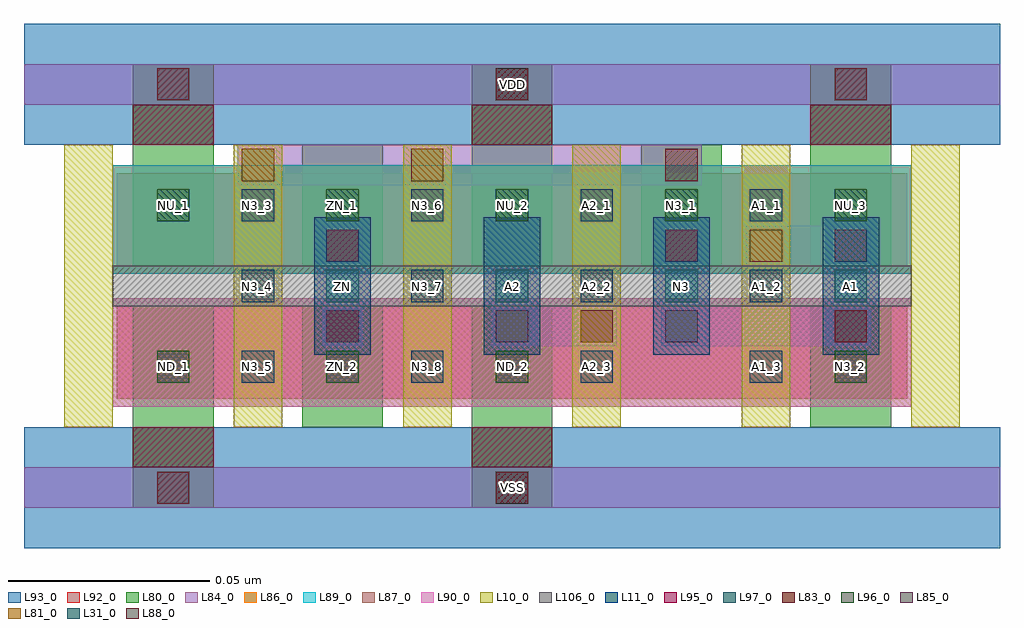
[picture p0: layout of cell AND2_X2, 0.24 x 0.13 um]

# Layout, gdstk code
import gdstk
lib = gdstk.Library(unit=1e-6, precision=1e-09)
def R(c, l, rs):  # rectangles x0, y0, x1, y1
    for r in rs: c.add(gdstk.rectangle(r[:2], r[2:], *l))
def A(c, l, x, y, w, h, nx, ny, dx, dy):  # array of equal rectangles
    R(c, l, [(x+i*dx, y+j*dy, x+i*dx+w, y+j*dy+h) for i in range(nx) for j in range(ny)])
L10_0 = (10, 0)
L11_0 = (11, 0)
L31_0 = (31, 0)
L80_0 = (80, 0)
L81_0 = (81, 0)
L83_0 = (83, 0)
L84_0 = (84, 0)
L85_0 = (85, 0)
L86_0 = (86, 0)
L87_0 = (87, 0)
L88_0 = (88, 0)
L89_0 = (89, 0)
L90_0 = (90, 0)
L92_0 = (92, 0)
L93_0 = (93, 0)
L95_0 = (95, 0)
L96_0 = (96, 0)
L97_0 = (97, 0)
L106_0 = (106, 0)

and2_x2 = lib.new_cell('AND2_X2')
A(and2_x2, L10_0, -0.027, 0.015, 0.012, 0.07, 6, 1, 0.042, 0)
A(and2_x2, L11_0, 0.035, 0.033, 0.014, 0.034, 4, 1, 0.042, 0)
A(and2_x2, L31_0, 0.038, 0.046, 0.008, 0.008, 4, 1, 0.042, 0)
A(and2_x2, L80_0, -0.01, 0.015, 0.02, 0.03, 3, 1, 0.042, 0)
A(and2_x2, L80_0, -0.01, 0.055, 0.02, 0.03, 5, 1, 0.042, 0)
A(and2_x2, L80_0, -0.01, 0.075, 0.02, 0.03, 3, 1, 0.084, 0)
R(and2_x2, L80_0, [(-0.01,-0.005,0.01,0.025), (0.074,-0.005,0.094,0.025), (0.158,0.015,0.178,0.045)])
R(and2_x2, L81_0, [(0.101,0.036,0.109,0.044), (0.143,0.056,0.151,0.064), (0.017,0.076,0.025,0.084), (0.059,0.076,0.067,0.084)])
A(and2_x2, L83_0, -0.004, 0.096, 0.008, 0.008, 3, 1, 0.084, 0)
R(and2_x2, L83_0, [(-0.004,-0.004,0.004,0.004), (0.08,-0.004,0.088,0.004), (0.038,0.036,0.046,0.044), (0.164,0.036,0.172,0.044), (0.038,0.056,0.046,0.064), (0.122,0.056,0.13,0.064), (0.122,0.076,0.13,0.084)])
A(and2_x2, L84_0, 0.016, 0.075, 0.031, 0.01, 5, 1, 0.021, 0)
R(and2_x2, L84_0, [(-0.037,-0.005,0.205,0.005), (0.037,0.035,0.047,0.045), (0.079,0.035,0.11,0.045), (0.121,0.035,0.152,0.045), (0.142,0.035,0.173,0.045), (0.037,0.055,0.047,0.065), (0.121,0.055,0.131,0.065), (0.142,0.055,0.173,0.065), (-0.037,0.095,0.205,0.105)])
A(and2_x2, L85_0, 0.038, 0.036, 0.008, 0.008, 3, 1, 0.042, 0)
R(and2_x2, L85_0, [(0.038,0.056,0.046,0.064), (0.122,0.056,0.13,0.064), (0.164,0.056,0.172,0.064)])
R(and2_x2, L86_0, [(-0.015,0.053,0.183,0.08)])
R(and2_x2, L87_0, [(-0.015,0.02,0.183,0.047)])
R(and2_x2, L88_0, [(0.08,-0.004,0.088,0.004), (0.08,0.096,0.088,0.104)])
R(and2_x2, L89_0, [(-0.015,0.053,0.183,0.08)])
R(and2_x2, L90_0, [(-0.015,0.02,0.183,0.047)])
R(and2_x2, L92_0, [(-0.014,0.022,0.182,0.045), (-0.014,0.055,0.182,0.078)])
R(and2_x2, L93_0, [(-0.037,-0.015,0.205,0.015), (-0.037,0.085,0.205,0.115)])
A(and2_x2, L95_0, -0.01, 0.085, 0.02, 0.01, 3, 1, 0.084, 0)
R(and2_x2, L95_0, [(-0.01,0.005,0.01,0.015), (0.074,0.005,0.094,0.015)])
A(and2_x2, L96_0, -0.004, 0.026, 0.008, 0.008, 3, 1, 0.042, 0)
A(and2_x2, L96_0, -0.004, 0.066, 0.008, 0.008, 5, 1, 0.042, 0)
R(and2_x2, L96_0, [(0.164,0.026,0.172,0.034)])
A(and2_x2, L97_0, 0.017, 0.026, 0.008, 0.008, 4, 3, 0.042, 0.02)
R(and2_x2, L106_0, [(-0.015,0.045,0.183,0.055)])
and2_x2.add(gdstk.Label('ND_2', (0.084,0.03), layer=96, texttype=0))
and2_x2.add(gdstk.Label('ND_1', (0,0.03), layer=96, texttype=0))
and2_x2.add(gdstk.Label('NU_3', (0.168,0.07), layer=96, texttype=0))
and2_x2.add(gdstk.Label('NU_2', (0.084,0.07), layer=96, texttype=0))
and2_x2.add(gdstk.Label('NU_1', (0,0.07), layer=96, texttype=0))
and2_x2.add(gdstk.Label('N3_2', (0.168,0.03), layer=96, texttype=0))
and2_x2.add(gdstk.Label('N3_1', (0.126,0.07), layer=96, texttype=0))
and2_x2.add(gdstk.Label('ZN_2', (0.042,0.03), layer=96, texttype=0))
and2_x2.add(gdstk.Label('ZN_1', (0.042,0.07), layer=96, texttype=0))
and2_x2.add(gdstk.Label('A2_3', (0.105,0.03), layer=97, texttype=0))
and2_x2.add(gdstk.Label('A2_1', (0.105,0.07), layer=97, texttype=0))
and2_x2.add(gdstk.Label('A1_3', (0.147,0.03), layer=97, texttype=0))
and2_x2.add(gdstk.Label('A1_1', (0.147,0.07), layer=97, texttype=0))
and2_x2.add(gdstk.Label('N3_8', (0.063,0.03), layer=97, texttype=0))
and2_x2.add(gdstk.Label('N3_6', (0.063,0.07), layer=97, texttype=0))
and2_x2.add(gdstk.Label('N3_5', (0.021,0.03), layer=97, texttype=0))
and2_x2.add(gdstk.Label('N3_3', (0.021,0.07), layer=97, texttype=0))
and2_x2.add(gdstk.Label('A1_2', (0.147,0.05), layer=97, texttype=0))
and2_x2.add(gdstk.Label('A2_2', (0.105,0.05), layer=97, texttype=0))
and2_x2.add(gdstk.Label('N3_7', (0.063,0.05), layer=97, texttype=0))
and2_x2.add(gdstk.Label('N3_4', (0.021,0.05), layer=97, texttype=0))
and2_x2.add(gdstk.Label('A2', (0.084,0.05), layer=31, texttype=0))
and2_x2.add(gdstk.Label('A1', (0.168,0.05), layer=31, texttype=0))
and2_x2.add(gdstk.Label('ZN', (0.042,0.05), layer=31, texttype=0))
and2_x2.add(gdstk.Label('N3', (0.126,0.05), layer=31, texttype=0))
and2_x2.add(gdstk.Label('VSS', (0.084,0), layer=88, texttype=0))
and2_x2.add(gdstk.Label('VDD', (0.084,0.1), layer=88, texttype=0))

lib.write_gds('AND2_X2.gds')
